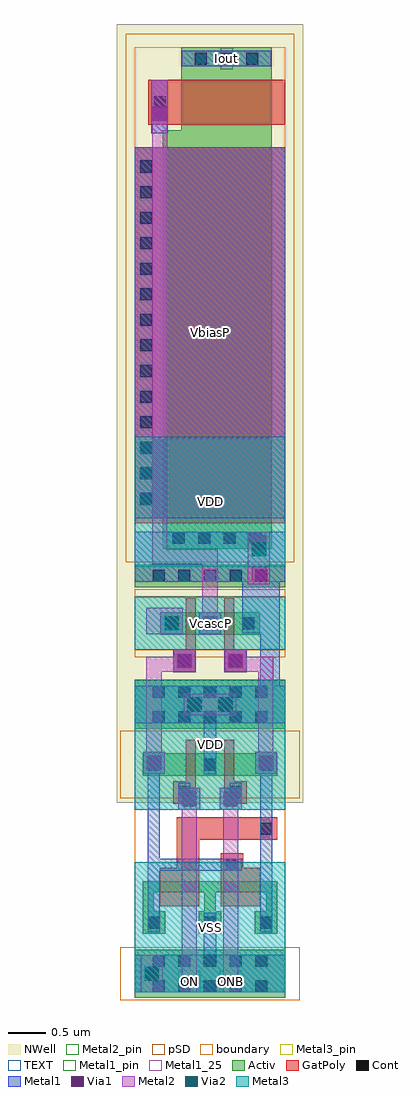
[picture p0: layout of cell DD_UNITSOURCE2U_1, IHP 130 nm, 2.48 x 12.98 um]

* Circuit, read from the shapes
.subckt DD_UNITSOURCE2U_1 Iout ON ONB VDD VSS VbiasP VcascP
XM1 VSS DD_CASCODEDRIVE_1/DD_NONOVERLAP_1/OUTP DD_CASCODEDRIVE_1/DD_NONOVERLAP_1/OUTN VSS sg13_lv_nmos w=0.15u l=0.52u
XM2 DD_CASCODEDRIVE_1/DD_NONOVERLAP_1/OUTP DD_CASCODEDRIVE_1/DD_NONOVERLAP_1/OUTN VSS VSS sg13_lv_nmos w=0.15u l=0.52u
XM3 n1 VbiasP VDD VDD sg13_lv_pmos w=1.45u l=5u
XM4 Iout DD_PCSOURCE2U_0/VcascodeP n1 VDD sg13_lv_pmos w=1.2u l=0.6u
XM5 VDD ON DD_CASCODEDRIVE_1/DD_NONOVERLAP_1/OUTN VDD sg13_lv_pmos w=0.3u l=0.13u
XM6 DD_PCSOURCE2U_0/VcascodeP DD_CASCODEDRIVE_1/DD_NONOVERLAP_1/OUTN VcascP VDD sg13_lv_pmos w=0.3u l=0.13u
XM7 DD_CASCODEDRIVE_1/DD_NONOVERLAP_1/OUTP ONB VDD VDD sg13_lv_pmos w=0.3u l=0.13u
XM8 VDD DD_CASCODEDRIVE_1/DD_NONOVERLAP_1/OUTP DD_PCSOURCE2U_0/VcascodeP VDD sg13_lv_pmos w=0.3u l=0.13u
.ends

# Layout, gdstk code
from math import pi, radians
import gdstk
lib = gdstk.Library(unit=1e-6, precision=1e-09)
def R(c, l, rs):  # rectangles x0, y0, x1, y1
    for r in rs: c.add(gdstk.rectangle(r[:2], r[2:], *l))
def A(c, l, x, y, w, h, nx, ny, dx, dy):  # array of equal rectangles
    R(c, l, [(x+i*dx, y+j*dy, x+i*dx+w, y+j*dy+h) for i in range(nx) for j in range(ny)])
Activ = (1, 0)
GatPoly = (5, 0)
Cont = (6, 0)
Metal1 = (8, 0)
Metal1_pin = (8, 2)
Metal1_25 = (8, 25)
Metal2 = (10, 0)
Metal2_pin = (10, 2)
pSD = (14, 0)
Via1 = (19, 0)
Via2 = (29, 0)
Metal3 = (30, 0)
Metal3_pin = (30, 2)
NWell = (31, 0)
TEXT = (63, 0)
boundary = (189, 4)

dd_feol_contacts_4_1 = lib.new_cell('DD_FEOL$contacts$4$1')
A(dd_feol_contacts_4_1, Cont, 0.175, 0, 0.16, 0.16, 14, 1, 0.34, 0)
R(dd_feol_contacts_4_1, Metal1, [(0,0,4.93,0.16)])

dd_feol_contacts_7_1 = lib.new_cell('DD_FEOL$contacts$7$1')
A(dd_feol_contacts_7_1, Cont, 0.135, 0, 0.16, 0.16, 4, 1, 0.34, 0)
R(dd_feol_contacts_7_1, Metal1, [(0,0,1.45,0.16)])

dd_feol_contacts_5_1 = lib.new_cell('DD_FEOL$contacts$5$1')
A(dd_feol_contacts_5_1, Cont, 0.2, 0, 0.16, 0.16, 5, 1, 0.34, 0)
R(dd_feol_contacts_5_1, Metal1, [(0,0,1.92,0.16)])

dd_feol_contacts_6_1 = lib.new_cell('DD_FEOL$contacts$6$1')
A(dd_feol_contacts_6_1, Cont, 0.16, 0, 0.16, 0.16, 3, 1, 0.34, 0)
R(dd_feol_contacts_6_1, Metal1, [(0,0,1.16,0.16)])

dd_feol_contacts_1_2 = lib.new_cell('DD_FEOL$contacts$1$2')
R(dd_feol_contacts_1_2, Cont, [(0.18,0,0.34,0.16)])
R(dd_feol_contacts_1_2, Metal1, [(0,0,0.52,0.16)])

dd_pcsource2u = lib.new_cell('DD_PCSOURCE2U')
R(dd_pcsource2u, Activ, [(-1,-6.3,1,-6), (-0.63,-5.79,0.82,-0.22), (-0.38,-0.38,0.82,0.88)])
R(dd_pcsource2u, GatPoly, [(-1,-5.45,1,-0.45), (-0.82,-0.15,1,0.45)])
R(dd_pcsource2u, Metal1, [(-1,-6.23,1,-5.56), (-1,-5.38,1,-0.45), (-0.78,-0.265,-0.56,0.445), (-0.375,0.625,0.815,0.835)])
R(dd_pcsource2u, Metal1_pin, [(-1,-6.23,1,-5.56), (-1,-5.38,1,-0.45)])
R(dd_pcsource2u, Metal1_25, [(-0.375,0.625,0.815,0.835)])
R(dd_pcsource2u, Metal2, [(-0.78,-0.145,-0.56,0.445)])
R(dd_pcsource2u, Metal2_pin, [(-0.775,-0.145,-0.565,0.445)])
R(dd_pcsource2u, pSD, [(-1.12,-5.97,1.12,1.06)])
R(dd_pcsource2u, Via1, [(-0.765,-0.095,-0.575,0.095)])
R(dd_pcsource2u, NWell, [(-1.24,-6.54,1.24,1.19)])
R(dd_pcsource2u, TEXT, [(0.14,0.585,0.3,0.875), (0.125,0.635,0.315,0.825)])
R(dd_pcsource2u, boundary, [(-1,-6.3,1,0.88)])
dd_pcsource2u.add(gdstk.Reference(dd_feol_contacts_4_1, (-0.77,-5.38), rotation=pi/2))
dd_pcsource2u.add(gdstk.Reference(dd_feol_contacts_7_1, (-0.63,-5.72)))
dd_pcsource2u.add(gdstk.Reference(dd_feol_contacts_5_1, (-0.96,-6.23)))
dd_pcsource2u.add(gdstk.Reference(dd_feol_contacts_6_1, (-0.36,0.65)))
dd_pcsource2u.add(gdstk.Reference(dd_feol_contacts_1_2, (-0.59,-0.11), rotation=pi/2))
dd_pcsource2u.add(gdstk.Label('VbiasP', (0,-2.915), layer=8, texttype=25))
dd_pcsource2u.add(gdstk.Label('VDD', (0,-5.895), layer=8, texttype=25))
dd_pcsource2u.add(gdstk.Label('Iout', (0.22,0.73), layer=8, texttype=25))
dd_pcsource2u.add(gdstk.Label('VcascodeP', (-0.67,0), layer=10, texttype=25))

dd_feol_contacts_9_1 = lib.new_cell('DD_FEOL$contacts$9$1')
R(dd_feol_contacts_9_1, Cont, [(0.05,0,0.21,0.16)])
R(dd_feol_contacts_9_1, Metal1, [(0,0,0.26,0.16)])

dd_via_stack_2_1 = lib.new_cell('DD_via_stack$2$1')
R(dd_via_stack_2_1, Metal1, [(-0.145,-0.145,0.145,0.145)])
R(dd_via_stack_2_1, Metal2, [(-0.145,-0.145,0.145,0.145)])
R(dd_via_stack_2_1, Via1, [(-0.095,-0.095,0.095,0.095)])

dd_via_stack_3 = lib.new_cell('DD_via_stack$3')
R(dd_via_stack_3, Metal1, [(-0.145,-0.145,0.145,0.145)])
R(dd_via_stack_3, Metal2, [(-0.145,-0.145,0.145,0.145)])
R(dd_via_stack_3, Via1, [(-0.095,-0.095,0.095,0.095)])
R(dd_via_stack_3, Via2, [(-0.095,-0.095,0.095,0.095)])
R(dd_via_stack_3, Metal3, [(-0.145,-0.145,0.145,0.145)])

dd_dac_sw = lib.new_cell('DD_DAC_SW')
R(dd_dac_sw, Activ, [(-0.66,-0.15,0.66,0.15)])
R(dd_dac_sw, GatPoly, [(-0.49,-0.65,-0.19,-0.35), (0.19,-0.65,0.49,-0.35), (-0.32,-0.375,-0.19,0.33), (0.19,-0.375,0.32,0.33)])
A(dd_dac_sw, Cont, -0.59, -0.08, 0.16, 0.16, 3, 1, 0.51, 0)
A(dd_dac_sw, Metal1, -0.59, -0.13, 0.16, 0.26, 3, 1, 0.51, 0)
R(dd_dac_sw, Metal1, [(-0.49,-0.65,-0.19,-0.35), (0.19,-0.65,0.49,-0.35), (-0.66,-0.15,-0.36,0.15), (-0.15,-0.15,0.15,0.15)])
R(dd_dac_sw, Metal2, [(-0.845,-0.145,-0.365,0.205)])
R(dd_dac_sw, pSD, [(-1,-0.45,1,0.45)])
R(dd_dac_sw, NWell, [(-1,-0.5,1,0.5)])
R(dd_dac_sw, boundary, [(-1,-0.36,1,0.36)])
dd_dac_sw.add(gdstk.FlexPath([(0.43,0),(0.8,0),(0.8,-0.985)], 0.26, ends="flush", simple_path=True, layer=8, datatype=0))  # Metal1
dd_dac_sw.add(gdstk.FlexPath([(-0.745,-1.95),(-0.745,-0.545),(-0.24,-0.545)], 0.2, ends="flush", simple_path=True, layer=10, datatype=0))  # Metal2
dd_dac_sw.add(gdstk.FlexPath([(0.74,-1.95),(0.74,-0.545),(0.24,-0.545)], 0.2, ends="flush", simple_path=True, layer=10, datatype=0))  # Metal2
dd_dac_sw.add(gdstk.Reference(dd_feol_contacts_9_1, (-0.26,-0.63), rotation=pi/2))
dd_dac_sw.add(gdstk.Reference(dd_feol_contacts_9_1, (0.42,-0.63), rotation=pi/2))
dd_dac_sw.add(gdstk.Reference(dd_via_stack_2_1, (-0.34,-0.5)))
dd_dac_sw.add(gdstk.Reference(dd_via_stack_3, (-0.51,0)))
dd_dac_sw.add(gdstk.Reference(dd_via_stack_2_1, (0.34,-0.5)))
dd_dac_sw.add(gdstk.Reference(dd_via_stack_2_1, (0,0)))

dd_feol_contacts_3_2_1 = lib.new_cell('DD_FEOL$contacts$3$2$1')
A(dd_feol_contacts_3_2_1, Cont, 0.2, 0, 0.16, 0.16, 5, 2, 0.34, 0.34)
R(dd_feol_contacts_3_2_1, Metal1, [(0,0,1.92,0.5)])

dd_feol_contacts_1_1_1 = lib.new_cell('DD_FEOL$contacts$1$1$1')
R(dd_feol_contacts_1_1_1, Cont, [(0.05,0,0.21,0.16)])
R(dd_feol_contacts_1_1_1, Metal1, [(0,0,0.26,0.16)])

dd_via_stack_1_1_1 = lib.new_cell('DD_via_stack$1$1$1')
R(dd_via_stack_1_1_1, Metal1, [(-0.145,-0.145,0.145,0.145)])
R(dd_via_stack_1_1_1, Metal2, [(-0.145,-0.145,0.145,0.145)])
R(dd_via_stack_1_1_1, Via1, [(-0.095,-0.095,0.095,0.095)])

dd_nonoverlap = lib.new_cell('DD_NONOVERLAP')
A(dd_nonoverlap, Activ, -0.895, -2.25, 0.3, 0.3, 3, 1, 0.745, 0)
R(dd_nonoverlap, Activ, [(-1,-3.1,1,-2.46), (-0.895,-1.7,0.895,-1.55), (-0.895,-0.15,0.895,0.15), (-1,0.48,1,1.12)])
R(dd_nonoverlap, GatPoly, [(-0.665,-1.88,-0.145,-1.37), (0.145,-1.88,0.665,-1.37), (0.145,-1.48,0.445,-1.18), (0.595,-1,0.895,-0.7), (-0.49,-0.52,-0.19,-0.22), (0.19,-0.52,0.49,-0.22), (-0.32,-0.33,-0.19,0.33), (0.19,-0.33,0.32,0.33)])
R(dd_nonoverlap, Metal1, [(-1,-3.03,1,-2.53), (-1,0.55,1,1.05), (-1,0.55,1,1.05)])
R(dd_nonoverlap, Metal1_pin, [(-1,-3.03,1,-2.53), (-1,0.55,1,1.05)])
R(dd_nonoverlap, Metal2_pin, [(-0.42,-0.6,-0.13,-0.31), (0.13,-0.6,0.42,-0.31), (-0.89,-0.12,-0.6,0.17), (0.6,-0.12,0.89,0.17)])
R(dd_nonoverlap, pSD, [(-1.195,-3.13,1.195,-2.43), (-1.195,-0.45,1.195,0.45)])
R(dd_nonoverlap, NWell, [(-1.24,-0.505,1.24,1.44)])
R(dd_nonoverlap, boundary, [(-1,-3.1,1,1.12)])
dd_nonoverlap.add(gdstk.FlexPath([(0.38,-1.33),(-0.745,-1.33)], 0.16, ends="flush", simple_path=True, layer=8, datatype=0))  # Metal1
dd_nonoverlap.add(gdstk.FlexPath([(-0.745,-2.02),(-0.745,-0.08)], 0.16, ends="flush", simple_path=True, layer=8, datatype=0))  # Metal1
dd_nonoverlap.add(gdstk.FlexPath([(0.745,-2.02),(0.745,-0.08)], 0.16, ends="flush", simple_path=True, layer=8, datatype=0))  # Metal1
dd_nonoverlap.add(gdstk.FlexPath([(0,-2.02),(0,-2.69)], 0.16, ends="flush", simple_path=True, layer=8, datatype=0))  # Metal1
dd_nonoverlap.add(gdstk.FlexPath([(0,0.71),(0,-0.08)], 0.16, ends="flush", simple_path=True, layer=8, datatype=0))  # Metal1
dd_nonoverlap.add(gdstk.FlexPath([(0,-1.63),(0,-2.18)], 0.15, ends="flush", simple_path=True, layer=1, datatype=0))  # Activ
dd_nonoverlap.add(gdstk.FlexPath([(0.82,-1.635),(0.82,-2.18)], 0.15, ends="flush", simple_path=True, layer=1, datatype=0))  # Activ
dd_nonoverlap.add(gdstk.FlexPath([(-0.82,-1.63),(-0.82,-2.18)], 0.15, ends="flush", simple_path=True, layer=1, datatype=0))  # Activ
dd_nonoverlap.add(gdstk.FlexPath([(-0.295,-1.475),(-0.295,-0.85),(0.745,-0.85)], 0.3, ends="flush", simple_path=True, layer=5, datatype=0))  # GatPoly
dd_nonoverlap.add(gdstk.Reference(dd_feol_contacts_3_2_1, (-0.96,0.55)))
dd_nonoverlap.add(gdstk.Reference(dd_feol_contacts_1_1_1, (0.825,-0.13), rotation=pi/2))
dd_nonoverlap.add(gdstk.Reference(dd_feol_contacts_1_1_1, (0.08,-0.13), rotation=pi/2))
dd_nonoverlap.add(gdstk.Reference(dd_feol_contacts_1_1_1, (-0.665,-0.13), rotation=pi/2))
dd_nonoverlap.add(gdstk.Reference(dd_feol_contacts_1_1_1, (-0.26,-0.5), rotation=pi/2))
dd_nonoverlap.add(gdstk.Reference(dd_feol_contacts_1_1_1, (0.42,-0.5), rotation=pi/2))
dd_nonoverlap.add(gdstk.Reference(dd_feol_contacts_1_1_1, (-0.665,-2.23), rotation=pi/2))
dd_nonoverlap.add(gdstk.Reference(dd_feol_contacts_1_1_1, (0.165,-1.41)))
dd_nonoverlap.add(gdstk.Reference(dd_feol_contacts_1_1_1, (0.825,-2.23), rotation=pi/2))
dd_nonoverlap.add(gdstk.Reference(dd_feol_contacts_1_1_1, (0.08,-2.23), rotation=pi/2))
dd_nonoverlap.add(gdstk.Reference(dd_feol_contacts_3_2_1, (-0.96,-3.03)))
dd_nonoverlap.add(gdstk.Reference(dd_via_stack_1_1_1, (0.275,-0.455)))
dd_nonoverlap.add(gdstk.Reference(dd_via_stack_1_1_1, (-0.275,-0.455)))
dd_nonoverlap.add(gdstk.Reference(dd_via_stack_1_1_1, (0.745,0.025)))
dd_nonoverlap.add(gdstk.Reference(dd_via_stack_1_1_1, (-0.745,0.025)))
dd_nonoverlap.add(gdstk.Reference(dd_feol_contacts_1_1_1, (0.825,-0.98), rotation=pi/2))
dd_nonoverlap.add(gdstk.Label('VSS', (0,-2.78), layer=8, texttype=25))
dd_nonoverlap.add(gdstk.Label('VDD', (0,0.8), layer=8, texttype=25))
dd_nonoverlap.add(gdstk.Label('OUTN', (-0.745,0.025), layer=10, texttype=25))
dd_nonoverlap.add(gdstk.Label('INP', (-0.275,-0.455), layer=10, texttype=25))
dd_nonoverlap.add(gdstk.Label('OUTP', (0.745,0.025), layer=10, texttype=25))
dd_nonoverlap.add(gdstk.Label('INN', (0.275,-0.455), layer=10, texttype=25))

dd_cascodedrive = lib.new_cell('DD_CASCODEDRIVE')
dd_cascodedrive.add(gdstk.Reference(dd_dac_sw, (0,0)))
dd_cascodedrive.add(gdstk.Reference(dd_nonoverlap, (0,-1.88)))

dd_via_stack_7_1_1 = lib.new_cell('DD_via_stack$7$1$1')
R(dd_via_stack_7_1_1, Metal1, [(-0.145,-0.35,0.145,0.35)])
R(dd_via_stack_7_1_1, Metal2, [(-0.145,-0.35,0.145,0.35)])
R(dd_via_stack_7_1_1, Via1, [(-0.095,-0.3,0.095,-0.11), (-0.095,0.11,0.095,0.3)])

dd_via_stack_4_1 = lib.new_cell('DD_via_stack$4$1')
R(dd_via_stack_4_1, Metal1, [(-0.35,-0.145,0.35,0.145)])
R(dd_via_stack_4_1, Metal2, [(-0.35,-0.145,0.35,0.145)])
R(dd_via_stack_4_1, Via1, [(-0.3,-0.095,-0.11,0.095), (0.11,-0.095,0.3,0.095)])
R(dd_via_stack_4_1, Via2, [(-0.3,-0.095,-0.11,0.095), (0.11,-0.095,0.3,0.095)])
R(dd_via_stack_4_1, Metal3, [(-0.35,-0.145,0.35,0.145)])

dd_via_stack_6_2_1 = lib.new_cell('DD_via_stack$6$2$1')
R(dd_via_stack_6_2_1, Metal2, [(-0.145,-0.145,0.145,0.145)])
R(dd_via_stack_6_2_1, Via2, [(-0.095,-0.095,0.095,0.095)])
R(dd_via_stack_6_2_1, Metal3, [(-0.145,-0.145,0.145,0.145)])

dd_via_stack_9_1 = lib.new_cell('DD_via_stack$9$1')
R(dd_via_stack_9_1, Metal1, [(-0.145,-0.145,0.145,0.145)])
R(dd_via_stack_9_1, Metal2, [(-0.145,-0.145,0.145,0.145)])
R(dd_via_stack_9_1, Via1, [(-0.095,-0.095,0.095,0.095)])
R(dd_via_stack_9_1, Via2, [(-0.095,-0.095,0.095,0.095)])
R(dd_via_stack_9_1, Metal3, [(-0.145,-0.145,0.145,0.145)])

dd_unitsource2u_1 = lib.new_cell('DD_UNITSOURCE2U_1')
R(dd_unitsource2u_1, Metal1, [(0.43,-0.13,0.93,0.71)])
R(dd_unitsource2u_1, Metal1_pin, [(-1,0.55,1,1.22), (-1,1.4,1,6.33), (-0.375,7.405,0.815,7.615)])
R(dd_unitsource2u_1, Metal2, [(-0.92,-4.91,-0.63,-4.41)])
R(dd_unitsource2u_1, Metal2_pin, [(-0.42,-4.91,-0.13,-4.62), (0.13,-4.91,0.42,-4.62)])
R(dd_unitsource2u_1, Metal3, [(-1,-4.91,1,-3.18), (-1,-2.48,1,-0.75), (-1,0.75,1,2.48)])
R(dd_unitsource2u_1, Metal3_pin, [(-1,-4.91,1,-3.18), (-1,-2.48,1,-0.75), (-1,-0.35,1,0.35), (-1,0.75,1,2.48)])
R(dd_unitsource2u_1, NWell, [(-1.24,-2.385,1.24,7.97)])
dd_unitsource2u_1.add(gdstk.FlexPath([(-0.275,-4.91),(-0.275,-2.19)], 0.2, ends="flush", simple_path=True, layer=10, datatype=0))  # Metal2
dd_unitsource2u_1.add(gdstk.FlexPath([(0.275,-4.91),(0.275,-2.19)], 0.2, ends="flush", simple_path=True, layer=10, datatype=0))  # Metal2
dd_unitsource2u_1.add(gdstk.FlexPath([(-0.67,6.685),(-0.67,0.885),(0,0.885),(0,0.095)], 0.2, ends="flush", simple_path=True, layer=10, datatype=0))  # Metal2
dd_unitsource2u_1.add(gdstk.FlexPath([(-1,0),(1,0)], 0.7, ends="flush", simple_path=True, layer=30, datatype=0))  # Metal3
dd_unitsource2u_1.add(gdstk.Reference(dd_pcsource2u, (0,6.78)))
dd_unitsource2u_1.add(gdstk.Reference(dd_cascodedrive, (0,0)))
dd_unitsource2u_1.add(gdstk.Reference(dd_via_stack_7_1_1, (0.65,0.87)))
dd_unitsource2u_1.add(gdstk.Reference(dd_via_stack_4_1, (0,-1.08)))
dd_unitsource2u_1.add(gdstk.Reference(dd_via_stack_6_2_1, (0.65,0.985)))
dd_unitsource2u_1.add(gdstk.Reference(dd_via_stack_9_1, (-0.775,-4.66)))
dd_unitsource2u_1.add(gdstk.Label('VDD', (0,1.615), layer=30, texttype=0))
dd_unitsource2u_1.add(gdstk.Label('VbiasP', (0,3.865), layer=8, texttype=25))
dd_unitsource2u_1.add(gdstk.Label('Iout', (0.22,7.51), layer=8, texttype=25))
dd_unitsource2u_1.add(gdstk.Label('ON', (-0.275,-4.765), layer=10, texttype=25))
dd_unitsource2u_1.add(gdstk.Label('ONB', (0.275,-4.765), layer=10, texttype=25))
dd_unitsource2u_1.add(gdstk.Label('VSS', (0,-4.045), layer=30, texttype=25))
dd_unitsource2u_1.add(gdstk.Label('VDD', (0,-1.615), layer=30, texttype=25))
dd_unitsource2u_1.add(gdstk.Label('VcascP', (0,0), layer=30, texttype=25))

lib.write_gds('DD_UNITSOURCE2U_1.gds')
